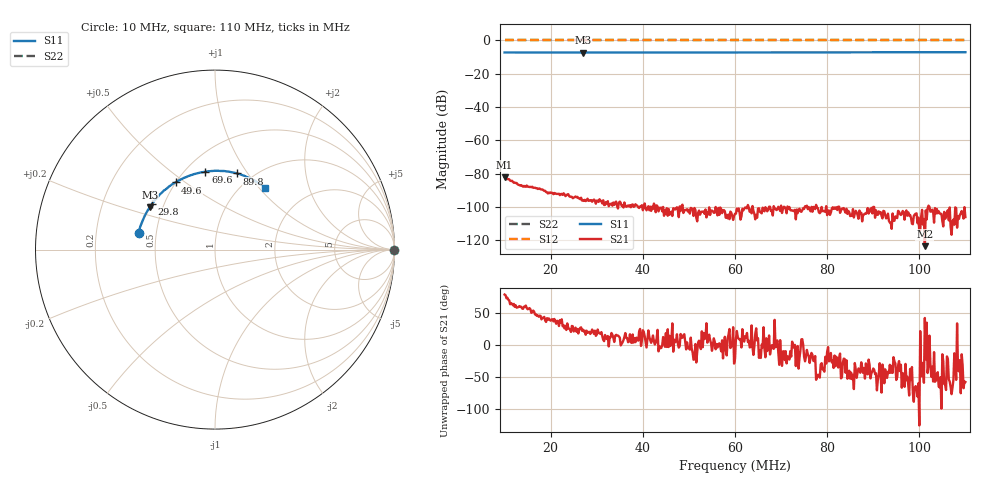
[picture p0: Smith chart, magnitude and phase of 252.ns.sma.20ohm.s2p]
! Anritsu VNA Master:  Model: MS2036C/10/77
! SN:  1601066
! /card0/usr/ns.20ohm.s2p
! Existing Calibration Information:
! TYPE:  Current Settings,  Active Cal Settings
! TIME:  12/21/2017 04:52:52 PM,  12/21/2017 04:46:01 PM
! INTERNAL TEMP:  41.0 C,  41.5 C
! # POINTS:  501,  501
! START FREQ:  10.000 MHz,  10.000 MHz
! STOP FREQ:  110.000 MHz,  110.000 MHz
! SOURCE POWER:  High,  High
! IFBW:  100 Hz,  100 Hz
! AVG FACTOR:  1 ,  1
! REF PLANE 1:  0 mm,  0 mm
! REF PLANE 2:  0 mm,  0 mm
! CAL TYPE:  Full S11,  Full S11
! CAL METHOD:  SOLT,  SOLT
! CAL LINE TYPE:  Coax,  Coax
! DUT PORT 1:  K-Conn(F),  K-Conn(F)
! DUT PORT 2:  K-Conn(F),  K-Conn(F)
! CAL STATUS:  OK: Accuracy High,  --
# GHZ S DB R 50.0
! FREQ.GHZ  S11DB  S11A  S21DB  S21A  S12DB  S12A  S22DB  S22A
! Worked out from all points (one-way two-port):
!   501 points, 10 MHz to 110 MHz, reference 50 ohm
!   highest |S21| = -82.09 dB at 10 MHz (marker M1); lowest = -123.5 dB at 101.2 MHz (marker M2)
!   lowest |S11| = -7.3 dB at 27 MHz (marker M3), VSWR 2.53, Z = 21.2 + j12.3 ohm
!   |S11| at or under -10 dB: nowhere
!   |S22| runs from 0.0 to 0.0 dB; largest |S21 - S12| = 1
!   S11 on the Smith chart (normalised r, x): 10 MHz: 0.40, +0.09; 29.8 MHz: 0.43, +0.27; 49.6 MHz: 0.50, +0.46; 69.6 MHz: 0.62, +0.67; 89.8 MHz: 0.85, +0.89; 110 MHz: 1.26, +1.08
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0.01  -7.21 167.7  -82.09 79.3  0.00 0.0  0.00 0.0
0.0142  -7.22 162.6  -87.35 60.3  0.00 0.0  0.00 0.0
0.0176  -7.24 158.5  -88.91 46.2  0.00 0.0  0.00 0.0
0.0226  -7.25 152.4  -92.75 29.5  0.00 0.0  0.00 0.0
0.0268  -7.27 147.4  -96.15 22.5  0.00 0.0  0.00 0.0
0.027  -7.27 147.1  -95.85 24.3  0.00 0.0  0.00 0.0
0.0298  -7.25 143.9  -98.04 14.6  0.00 0.0  0.00 0.0
0.0364  -7.23 135.8  -99.86 11.4  0.00 0.0  0.00 0.0
0.041  -7.23 130.6  -100.91 10.3  0.00 0.0  0.00 0.0
0.0434  -7.24 127.5  -102.63 -9.7  0.00 0.0  0.00 0.0
0.0474  -7.22 122.9  -100.18 17.0  0.00 0.0  0.00 0.0
0.0496  -7.25 120.4  -101.33 4.4  0.00 0.0  0.00 0.0
0.0548  -7.22 114.3  -102.14 3.2  0.00 0.0  0.00 0.0
0.06  -7.22 108.2  -104.09 -21.9  0.00 0.0  0.00 0.0
0.0658  -7.19 101.4  -103.81 0.9  0.00 0.0  0.00 0.0
0.0696  -7.18 97.1  -100.76 -30.9  0.00 0.0  0.00 0.0
0.0768  -7.15 88.7  -102.86 -15.0  0.00 0.0  0.00 0.0
0.084  -7.11 80.4  -103.44 -43.3  0.00 0.0  0.00 0.0
0.0898  -7.09 73.8  -103.85 -41.4  0.00 0.0  0.00 0.0
0.0934  -7.09 69.8  -108.30 -43.7  0.00 0.0  0.00 0.0
0.1012  -7.07 60.9  -123.54 42.6  0.00 0.0  0.00 0.0
0.11  -7.06 50.9  -106.08 -57.8  0.00 0.0  0.00 0.0
